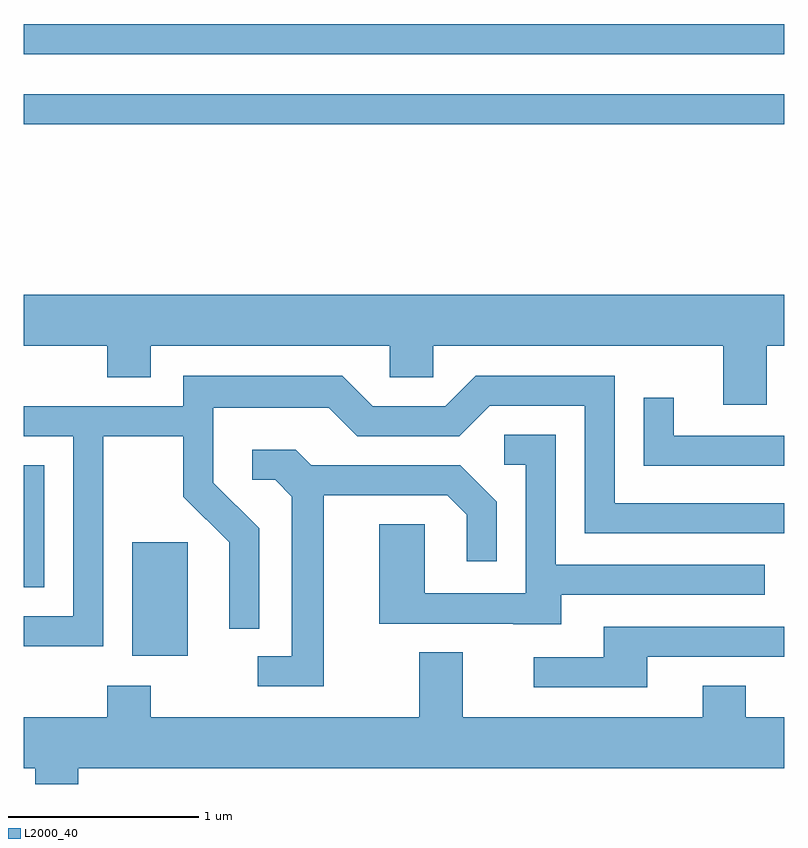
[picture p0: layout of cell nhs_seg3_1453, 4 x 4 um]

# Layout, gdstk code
import gdstk
lib = gdstk.Library(unit=1e-6, precision=1e-09)
def R(c, l, rs):  # rectangles x0, y0, x1, y1
    for r in rs: c.add(gdstk.rectangle(r[:2], r[2:], *l))
def P(c, l, *ps):  # polygons
    for p in ps: c.add(gdstk.Polygon(p, *l))
L2000_40 = (2000, 40)

nhs_seg3_1453 = lib.new_cell('nhs_seg3_1453')
R(nhs_seg3_1453, L2000_40, [(228.181,1166.566,228.474,1167.164), (227.611,1166.926,227.719,1167.569), (227.611,1169.361,231.611,1169.519), (227.611,1169.731,231.611,1169.889)])
P(nhs_seg3_1453, L2000_40, [(231.519,1168.196),(231.611,1168.196),(231.611,1168.464),(227.611,1168.464),(227.611,1168.196),(228.051,1168.196),(228.051,1168.031),(228.279,1168.031),(228.279,1168.196),(229.536,1168.196),(229.536,1168.031),(229.764,1168.031),(229.764,1168.196),(231.291,1168.196),(231.291,1167.886),(231.519,1167.886)],
  [(228.029,1167.721),(228.451,1167.721),(228.451,1167.404),(228.691,1167.164),(228.691,1166.708),(228.849,1166.708),(228.849,1167.237),(228.609,1167.477),(228.609,1167.871),(229.214,1167.871),(229.364,1167.721),(229.902,1167.721),(230.062,1167.881),(230.561,1167.881),(230.561,1167.211),(231.611,1167.211),(231.611,1167.369),(230.719,1167.369),(230.719,1168.039),(229.989,1168.039),(229.829,1167.879),(229.447,1167.879),(229.287,1168.039),(228.451,1168.039),(228.451,1167.879),(227.611,1167.879),(227.611,1167.721),(227.871,1167.721),(227.871,1166.774),(227.611,1166.774),(227.611,1166.616),(228.029,1166.616)],
  [(231.611,1167.724),(231.029,1167.724),(231.029,1167.923),(230.871,1167.923),(230.871,1167.566),(231.611,1167.566)],
  [(230.439,1166.886),(231.508,1166.886),(231.508,1167.044),(230.409,1167.044),(230.409,1167.729),(230.138,1167.729),(230.138,1167.571),(230.251,1167.571),(230.251,1166.894),(229.719,1166.894),(229.719,1167.259),(229.481,1167.259),(229.481,1166.736),(230.185,1166.736),(230.185,1166.731),(230.439,1166.731)],
  [(229.189,1167.411),(229.839,1167.411),(229.941,1167.309),(229.941,1167.063),(230.099,1167.063),(230.099,1167.377),(229.907,1167.569),(229.122,1167.569),(229.042,1167.649),(228.813,1167.649),(228.813,1167.491),(228.934,1167.491),(229.021,1167.404),(229.021,1166.564),(228.843,1166.564),(228.843,1166.406),(229.189,1166.406)],
  [(230.889,1166.561),(231.611,1166.561),(231.611,1166.719),(230.661,1166.719),(230.661,1166.559),(230.293,1166.559),(230.293,1166.401),(230.889,1166.401)],
  [(227.899,1165.976),(231.611,1165.976),(231.611,1166.244),(231.409,1166.244),(231.409,1166.409),(231.181,1166.409),(231.181,1166.244),(229.919,1166.244),(229.919,1166.584),(229.691,1166.584),(229.691,1166.244),(228.279,1166.244),(228.279,1166.409),(228.051,1166.409),(228.051,1166.244),(227.611,1166.244),(227.611,1165.976),(227.671,1165.976),(227.671,1165.892),(227.899,1165.892)])

lib.write_gds('nhs_seg3_1453.gds')
